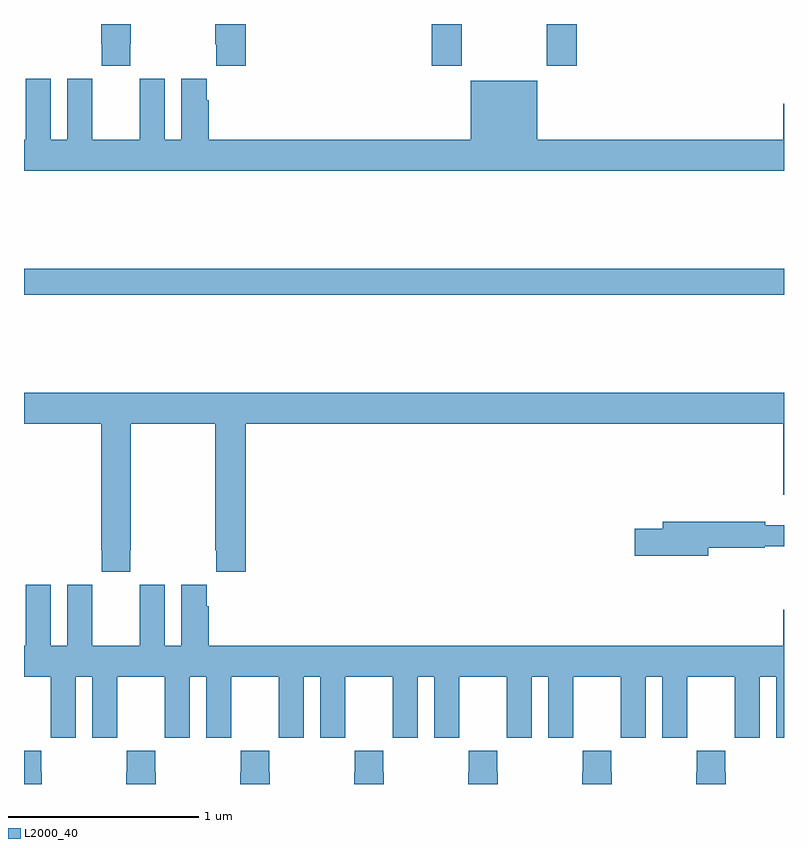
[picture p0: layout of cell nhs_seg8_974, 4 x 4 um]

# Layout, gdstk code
import gdstk
lib = gdstk.Library(unit=1e-6, precision=1e-09)
def R(c, l, rs):  # rectangles x0, y0, x1, y1
    for r in rs: c.add(gdstk.rectangle(r[:2], r[2:], *l))
def P(c, l, *ps):  # polygons
    for p in ps: c.add(gdstk.Polygon(p, *l))
L2000_40 = (2000, 40)

nhs_seg8_974 = lib.new_cell('nhs_seg8_974')
R(nhs_seg8_974, L2000_40, [(173,1154.476,177,1154.612), (175.145,1155.681,175.305,1155.9), (175.75,1155.681,175.91,1155.9)])
P(nhs_seg8_974, L2000_40, [(174.167,1155.9),(174.007,1155.9),(174.007,1155.793),(174.013,1155.793),(174.013,1155.681),(174.167,1155.681)],
  [(173.559,1155.793),(173.562,1155.793),(173.562,1155.9),(173.407,1155.9),(173.407,1155.793),(173.409,1155.793),(173.409,1155.681),(173.559,1155.681)],
  [(177,1155.481),(176.996,1155.481),(176.996,1155.292),(175.702,1155.292),(175.702,1155.601),(175.352,1155.601),(175.352,1155.292),(173.972,1155.292),(173.972,1155.5),(173.962,1155.5),(173.962,1155.613),(173.828,1155.613),(173.828,1155.292),(173.74,1155.292),(173.74,1155.613),(173.61,1155.613),(173.61,1155.5),(173.609,1155.5),(173.609,1155.292),(173.359,1155.292),(173.359,1155.5),(173.358,1155.5),(173.358,1155.613),(173.228,1155.613),(173.228,1155.292),(173.14,1155.292),(173.14,1155.613),(173.01,1155.613),(173.01,1155.5),(173.009,1155.5),(173.009,1155.292),(173,1155.292),(173,1155.128),(177,1155.128)],
  [(173.559,1153.129),(173.562,1153.129),(173.562,1153.796),(174.007,1153.796),(174.007,1153.129),(174.013,1153.129),(174.013,1153.017),(174.167,1153.017),(174.167,1153.796),(176.996,1153.796),(176.996,1153.422),(177,1153.422),(177,1153.96),(173,1153.96),(173,1153.796),(173.407,1153.796),(173.407,1153.129),(173.409,1153.129),(173.409,1153.017),(173.559,1153.017)],
  [(176.602,1153.144),(176.898,1153.144),(176.898,1153.152),(177,1153.152),(177,1153.261),(176.9,1153.261),(176.9,1153.28),(176.363,1153.28),(176.363,1153.244),(176.214,1153.244),(176.214,1153.102),(176.602,1153.102)],
  [(173.272,1152.464),(173.36,1152.464),(173.36,1152.144),(173.49,1152.144),(173.49,1152.256),(173.491,1152.256),(173.491,1152.464),(173.741,1152.464),(173.741,1152.256),(173.742,1152.256),(173.742,1152.144),(173.872,1152.144),(173.872,1152.464),(173.96,1152.464),(173.96,1152.144),(174.09,1152.144),(174.09,1152.256),(174.091,1152.256),(174.091,1152.464),(174.341,1152.464),(174.341,1152.256),(174.342,1152.256),(174.342,1152.144),(174.472,1152.144),(174.472,1152.464),(174.56,1152.464),(174.56,1152.144),(174.69,1152.144),(174.69,1152.256),(174.691,1152.256),(174.691,1152.464),(174.941,1152.464),(174.941,1152.256),(174.942,1152.256),(174.942,1152.144),(175.072,1152.144),(175.072,1152.464),(175.16,1152.464),(175.16,1152.144),(175.29,1152.144),(175.29,1152.256),(175.291,1152.256),(175.291,1152.464),(175.541,1152.464),(175.541,1152.256),(175.542,1152.256),(175.542,1152.144),(175.672,1152.144),(175.672,1152.464),(175.76,1152.464),(175.76,1152.144),(175.89,1152.144),(175.89,1152.256),(175.891,1152.256),(175.891,1152.464),(176.141,1152.464),(176.141,1152.256),(176.142,1152.256),(176.142,1152.144),(176.272,1152.144),(176.272,1152.464),(176.36,1152.464),(176.36,1152.144),(176.49,1152.144),(176.49,1152.256),(176.491,1152.256),(176.491,1152.464),(176.741,1152.464),(176.741,1152.256),(176.742,1152.256),(176.742,1152.144),(176.872,1152.144),(176.872,1152.464),(176.96,1152.464),(176.96,1152.144),(177,1152.144),(177,1152.817),(176.996,1152.817),(176.996,1152.628),(173.972,1152.628),(173.972,1152.836),(173.962,1152.836),(173.962,1152.949),(173.828,1152.949),(173.828,1152.628),(173.74,1152.628),(173.74,1152.949),(173.61,1152.949),(173.61,1152.836),(173.609,1152.836),(173.609,1152.628),(173.359,1152.628),(173.359,1152.836),(173.358,1152.836),(173.358,1152.949),(173.228,1152.949),(173.228,1152.628),(173.14,1152.628),(173.14,1152.949),(173.01,1152.949),(173.01,1152.836),(173.009,1152.836),(173.009,1152.628),(173,1152.628),(173,1152.464),(173.141,1152.464),(173.141,1152.256),(173.142,1152.256),(173.142,1152.144),(173.272,1152.144)],
  [(176.694,1151.963),(176.691,1151.963),(176.691,1152.076),(176.541,1152.076),(176.541,1151.963),(176.539,1151.963),(176.539,1151.9),(176.694,1151.9)],
  [(176.094,1151.963),(176.091,1151.963),(176.091,1152.076),(175.941,1152.076),(175.941,1151.963),(175.939,1151.963),(175.939,1151.9),(176.094,1151.9)],
  [(175.494,1151.963),(175.491,1151.963),(175.491,1152.076),(175.341,1152.076),(175.341,1151.963),(175.339,1151.963),(175.339,1151.9),(175.494,1151.9)],
  [(174.894,1151.963),(174.891,1151.963),(174.891,1152.076),(174.741,1152.076),(174.741,1151.963),(174.739,1151.963),(174.739,1151.9),(174.894,1151.9)],
  [(174.294,1151.963),(174.291,1151.963),(174.291,1152.076),(174.141,1152.076),(174.141,1151.963),(174.139,1151.963),(174.139,1151.9),(174.294,1151.9)],
  [(173.694,1151.963),(173.691,1151.963),(173.691,1152.076),(173.541,1152.076),(173.541,1151.963),(173.539,1151.963),(173.539,1151.9),(173.694,1151.9)],
  [(173.094,1151.963),(173.091,1151.963),(173.091,1152.076),(173,1152.076),(173,1151.9),(173.094,1151.9)])

lib.write_gds('nhs_seg8_974.gds')
